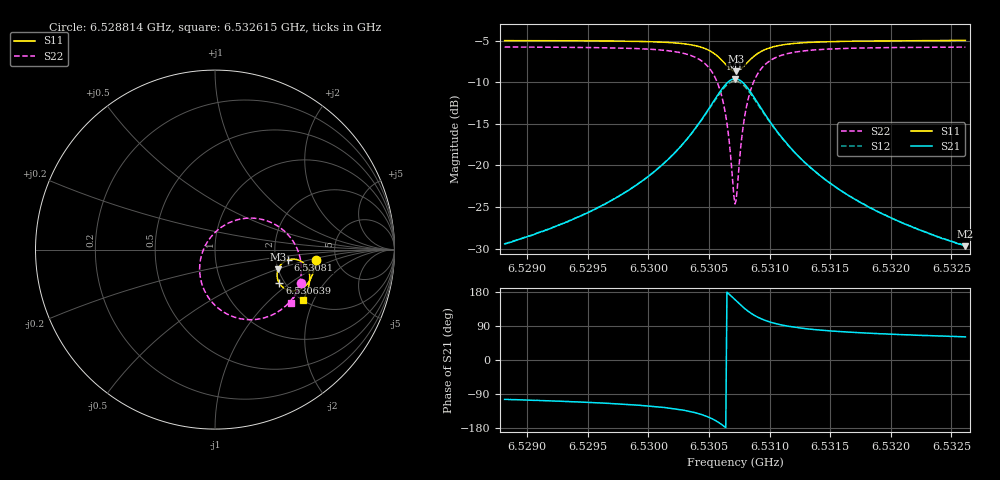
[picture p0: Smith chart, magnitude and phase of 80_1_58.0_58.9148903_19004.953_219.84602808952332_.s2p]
#  HZ  S  RI  R  50.00
! Rohde & Schwarz Vector Network Analyzer
! Rohde-Schwarz,ZNB20-2Port,1311601062101988,3.16
! Created: UTC 3/21/2024, 12:53:51 AM
! freq[Hz]  re:S11  im:S11  re:S21  im:S21  re:S12  im:S12  re:S22  im:S22
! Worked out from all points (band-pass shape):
!   401 points, 6.528814 GHz to 6.532615 GHz, reference 50 ohm
!   highest |S21| = -9.57 dB at 6.530715 GHz (marker M1); lowest = -29.7 dB at 6.532615 GHz (marker M2)
!   |S21| within 3 dB of the highest: 6.530526 GHz to 6.530906 GHz (380.3 kHz wide, 0.00582 % of centre)
!   lowest |S11| = -8.7 dB at 6.530724 GHz (marker M3), VSWR 2.17, Z = 99.9 - j25.3 ohm
!   |S11| at or under -10 dB: nowhere
!   |S22| runs from -24.6 to -5.7 dB; largest |S21 - S12| = 0.014
!   S11 on the Smith chart (normalised r, x): 6.528814 GHz: 3.48, -0.57; 6.530639 GHz: 1.87, -0.84; 6.53081 GHz: 2.34, -0.32; 6.532615 GHz: 2.03, -1.66
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6.5288145e9  0.5608 -0.0564  -0.00816 -0.0327  -0.00878 -0.0326  0.4811 -0.1863
6.529451e9  0.5512 -0.1111  -0.0179 -0.0466  -0.0192 -0.0463  0.4487 -0.2484
6.5298216e9  0.5397 -0.1475  -0.0319 -0.062  -0.0335 -0.0613  0.4126 -0.2953
6.5300876e9  0.5238 -0.1784  -0.054 -0.0805  -0.0564 -0.079  0.3625 -0.3389
6.5303156e9  0.4943 -0.2105  -0.0997 -0.1029  -0.1027 -0.0994  0.2704 -0.3815
6.5304771e9  0.446 -0.2298  -0.1767 -0.1091  -0.1791 -0.1014  0.1294 -0.3825
6.5305721e9  0.396 -0.2212  -0.2543 -0.0763  -0.2528 -0.065  0.000832 -0.3114
6.5306386e9  0.3589 -0.1877  -0.308 -0.00689  -0.3003 0.00403  -0.0752 -0.1842
6.5306671e9  0.3487 -0.1642  -0.3198 0.0372  -0.3095 0.0462  -0.0858 -0.1091
6.5306956e9  0.3458 -0.1371  -0.3191 0.0861  -0.307 0.0922  -0.0747 -0.029
6.5307146e9  0.3488 -0.1185  -0.3106 0.1186  -0.2979 0.1226  -0.0543 0.0224
6.5307241e9  0.3515 -0.1096  -0.3039 0.1341  -0.2911 0.1369  -0.0403 0.0466
6.5307336e9  0.3554 -0.101  -0.2956 0.1489  -0.283 0.1505  -0.024 0.069
6.5307716e9  0.3781 -0.0729  -0.2515 0.1964  -0.2408 0.1943  0.0572 0.1385
6.5308096e9  0.407 -0.0572  -0.199 0.2223  -0.1912 0.2183  0.1482 0.1714
6.5308761e9  0.4537 -0.0551  -0.1174 0.2257  -0.1136 0.2219  0.2854 0.1616
6.5309711e9  0.4953 -0.077  -0.0467 0.1932  -0.0451 0.191  0.4001 0.0905
6.5311136e9  0.5204 -0.1137  -0.0036 0.1433  -0.00242 0.1425  0.4638 -0.0109
6.5313511e9  0.5281 -0.1581  0.015 0.0939  0.0162 0.0937  0.4813 -0.114
6.5316457e9  0.5237 -0.1955  0.0185 0.0636  0.0196 0.0634  0.4721 -0.184
6.5319877e9  0.5141 -0.2287  0.018 0.0454  0.0189 0.0451  0.4552 -0.2346
6.5326147e9  0.4918 -0.2783  0.0158 0.0286  0.0165 0.0284  0.4228 -0.2949
